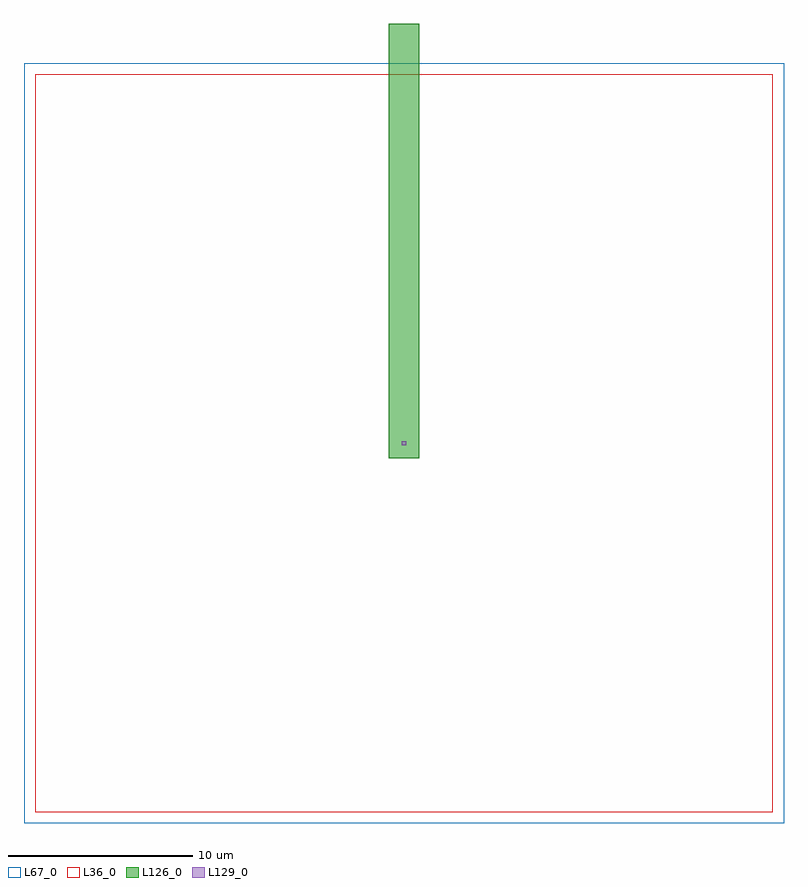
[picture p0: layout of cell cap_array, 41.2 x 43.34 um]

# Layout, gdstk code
import gdstk
lib = gdstk.Library(unit=1e-6, precision=1e-09)
def R(c, l, rs):  # rectangles x0, y0, x1, y1
    for r in rs: c.add(gdstk.rectangle(r[:2], r[2:], *l))
L36_0 = (36, 0)
L67_0 = (67, 0)
L126_0 = (126, 0)
L129_0 = (129, 0)

cap_array = lib.new_cell('cap_array')
R(cap_array, L36_0, [(0.6,0.6,40.6,40.6)])
R(cap_array, L67_0, [(0,0,41.2,41.2)])
R(cap_array, L126_0, [(19.78,19.78,21.42,21.42), (19.78,21.42,21.42,41.7), (19.78,41.7,21.42,43.34)])
R(cap_array, L129_0, [(20.49,20.49,20.71,20.71)])

lib.write_gds('cap_array.gds')
